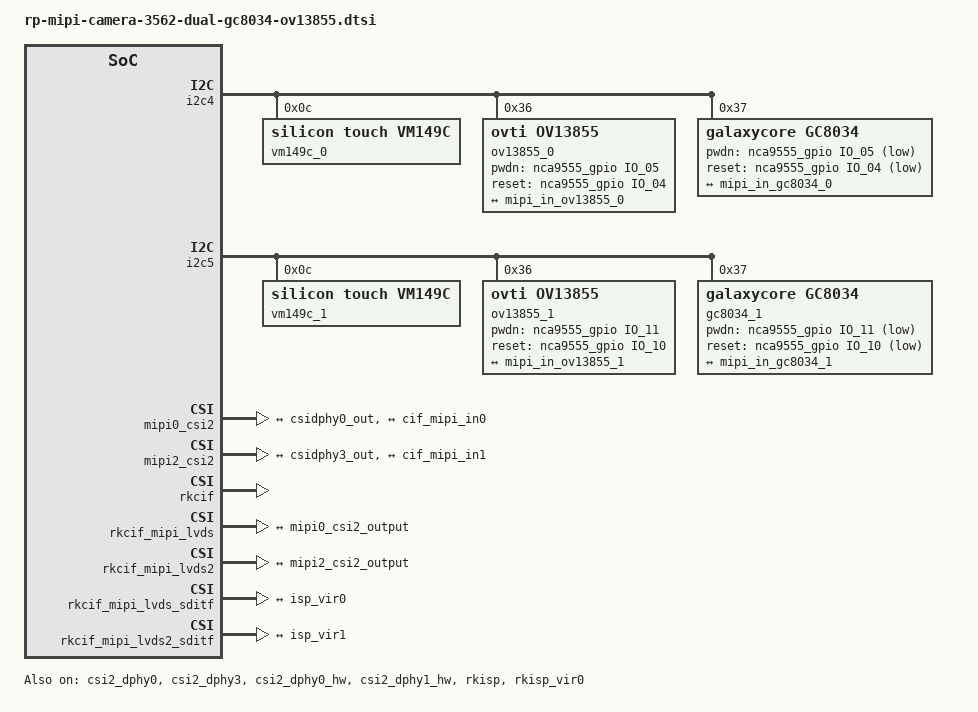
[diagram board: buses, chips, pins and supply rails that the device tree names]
// SPDX-License-Identifier: (GPL-2.0+ OR MIT)
/*
 * Copyright (c) 2023 Rockchip Electronics Co., Ltd.
 *
 */

/// {
//	vcc_mipicsi0: vcc-mipicsi0-regulator {
//		compatible = "regulator-fixed";
//		gpio = <&gpio4 RK_PB4 GPIO_ACTIVE_HIGH>;
//		pinctrl-names = "default";
//		pinctrl-0 = <&mipicsi0_pwr>;
//		regulator-name = "vcc_mipicsi0";
//		enable-active-high;
//		regulator-always-on;
//		regulator-boot-on;
//	};
//
//	vcc_mipicsi1: vcc-mipicsi1-regulator {
//		compatible = "regulator-fixed";
//		gpio = <&gpio3 RK_PC7 GPIO_ACTIVE_HIGH>;
//		pinctrl-names = "default";
//		pinctrl-0 = <&mipicsi1_pwr>;
//		regulator-name = "vcc_mipicsi1";
//		enable-active-high;
//		regulator-always-on;
//		regulator-boot-on;
//	};
//};

&csi2_dphy0 {
	status = "okay";

	ports {
		#address-cells = <1>;
		#size-cells = <0>;
		port@0 {
			reg = <0>;
			#address-cells = <1>;
			#size-cells = <0>;

			mipi_in_ov13855_0: endpoint@0 {
				reg = <0>;
				remote-endpoint = <&ov13855_out0>;
				data-lanes = <1 2 3 4>;
			};
			mipi_in_gc8034_0: endpoint@1 {
				reg = <1>;
				remote-endpoint = <&gc8034_out0>;
				data-lanes = <1 2 3 4>;
			};
		};
		port@1 {
			reg = <1>;
			#address-cells = <1>;
			#size-cells = <0>;

			csidphy0_out: endpoint@0 {
				reg = <0>;
				remote-endpoint = <&mipi0_csi2_input>;
			};
		};
	};
};

&csi2_dphy3 {
	status = "okay";

	ports {
		#address-cells = <1>;
		#size-cells = <0>;
		port@0 {
			reg = <0>;
			#address-cells = <1>;
			#size-cells = <0>;
                       mipi_in_ov13855_1: endpoint@0 {
                                reg = <0>;
                                remote-endpoint = <&ov13855_out1>;
                                data-lanes = <1 2 3 4>;
                        };
                        mipi_in_gc8034_1: endpoint@1 {
                                reg = <1>;
                                remote-endpoint = <&gc8034_out1>;
                                data-lanes = <1 2 3 4>;
                        };


		};
		port@1 {
			reg = <1>;
			#address-cells = <1>;
			#size-cells = <0>;

			csidphy3_out: endpoint@0 {
				reg = <0>;
				remote-endpoint = <&mipi2_csi2_input>;
			};
		};
	};
};

&i2c4 {
	status = "okay";

//               dw9763_0: dw9763_0@c {
//                compatible = "dongwoon,dw9763";
//                status = "okay";
//                reg = <0x0c>;
//                rockchip,vcm-max-current = <120>;
//                rockchip,vcm-start-current = <20>;
//                rockchip,vcm-rated-current = <90>;
//                rockchip,vcm-step-mode = <3>;
//                rockchip,vcm-t-src = <0x20>;
//                rockchip,vcm-t-div = <1>;
//                rockchip,camera-module-index = <0>;
//                rockchip,camera-module-facing = "back";
//        };
 
                vm149c_0: vm149c_0@0c {
        compatible = "silicon touch,vm149c";
        status = "okay";
        reg = <0x0c>;
        rockchip,vcm-start-current = <20>; // 马达的启动电流
        rockchip,vcm-rated-current = <100>; // 马达的额定电流
        rockchip,vcm-step-mode = <13>; // 马达驱动 ic 的电流输出模式
        rockchip,camera-module-index = <0>; // 模组编号
        rockchip,camera-module-facing = "back"; // 模组朝向，有"back"和"front"
};
               

                ov13855_0: ov13855_0@36 {
                compatible = "ovti,ov13855";
                status = "okay";
                reg = <0x36>;
                clocks = <&cru CLK_CAM0_OUT2IO>;
                clock-names = "xvclk";
                pinctrl-names = "default";
                pinctrl-0 = <&camm0_clk0_out>;
                pwdn-gpios = <&nca9555_gpio IO_05 GPIO_ACTIVE_HIGH>;
                reset-gpios = <&nca9555_gpio IO_04 GPIO_ACTIVE_HIGH>;
                rockchip,camera-module-index = <0>;
                rockchip,camera-module-facing = "back";
                rockchip,camera-module-name = "KYT-10203-v1";
                rockchip,camera-module-lens-name = "default";
//                lens-focus = <&dw9763_0>;
                port {
                        ov13855_out0: endpoint {
                                remote-endpoint = <&mipi_in_ov13855_0>;
                                data-lanes = <1 2 3 4>;
                        };
                };
        };



	gc8034: gc8034@37 {
		compatible = "galaxycore,gc8034";
		reg = <0x37>;
		clocks = <&cru CLK_CAM0_OUT2IO>;
		clock-names = "xvclk";
		pinctrl-names = "default";
		pinctrl-0 = <&camm0_clk0_out>;
                pwdn-gpios = <&nca9555_gpio IO_05 GPIO_ACTIVE_LOW>;
                reset-gpios = <&nca9555_gpio IO_04 GPIO_ACTIVE_LOW>;
                // dvdd-supply = <&vcc_mipicsi0>;
		rockchip,camera-module-index = <0>;
		rockchip,camera-module-facing = "back";
		rockchip,camera-module-name = "RK-CMK-8M-2-v1";
		rockchip,camera-module-lens-name = "CK8401";
                lens-focus = <&vm149c_0>;
	//	lens-focus = <&dw9714>;
		port {
			gc8034_out0: endpoint {
				remote-endpoint = <&mipi_in_gc8034_0>;
				data-lanes = <1 2 3 4>;
			};
		};
	};
};

&i2c5 {
	status = "okay";
   vm149c_1: vm149c_1@0c {
        compatible = "silicon touch,vm149c";
        status = "okay";
        reg = <0x0c>;
        rockchip,vcm-start-current = <20>; // 马达的启动电流
        rockchip,vcm-rated-current = <100>; // 马达的额定电流
        rockchip,vcm-step-mode = <13>; // 马达驱动 ic 的电流输出模式
        rockchip,camera-module-index = <1>; // 模组编号
        rockchip,camera-module-facing = "front"; // 模组朝向，有"back"和"front"
};

//        dw9763_1: dw9763_1@c {
//                compatible = "dongwoon,dw9763";
//                status = "okay";
//                reg = <0x0c>;
//                rockchip,vcm-max-current = <120>;
//                rockchip,vcm-start-current = <20>;
//                rockchip,vcm-rated-current = <90>;
//                rockchip,vcm-step-mode = <3>;
//                rockchip,vcm-t-src = <0x20>;
//                rockchip,vcm-t-div = <1>;
//                rockchip,camera-module-index = <1>;
//                rockchip,camera-module-facing = "front";
//        };


      ov13855_1: ov13855_1@36 {
                compatible = "ovti,ov13855";
                status = "okay";
                reg = <0x36>;
                clocks = <&cru CLK_CAM2_OUT2IO>;
                clock-names = "xvclk";
                pinctrl-names = "default";
                pinctrl-0 = <&cam_clk2_out>;
                pwdn-gpios = <&nca9555_gpio IO_11 GPIO_ACTIVE_HIGH>;
                reset-gpios = <&nca9555_gpio IO_10 GPIO_ACTIVE_HIGH>;
                rockchip,camera-module-index = <1>;
                rockchip,camera-module-facing = "front";
                rockchip,camera-module-name = "KYT-10203-v1";
                rockchip,camera-module-lens-name = "default";
                //lens-focus = <&dw9763_1>;
                port {
                        ov13855_out1: endpoint {
                                remote-endpoint = <&mipi_in_ov13855_1>;
                                data-lanes = <1 2 3 4>;
                        };
                };
        };


	gc8034_1: gc8034_1@37 {
		compatible = "galaxycore,gc8034";
		reg = <0x37>;
		clocks = <&cru CLK_CAM2_OUT2IO>;
		clock-names = "xvclk";
		pinctrl-names = "default";
		pinctrl-0 = <&cam_clk2_out>;
                pwdn-gpios = <&nca9555_gpio IO_11 GPIO_ACTIVE_LOW>;
                reset-gpios = <&nca9555_gpio IO_10 GPIO_ACTIVE_LOW>;
// dvdd-supply = <&vcc_mipicsi1>;
		rockchip,camera-module-index = <1>;
		rockchip,camera-module-facing = "front";
		rockchip,camera-module-name = "RK-CMK-8M-2-v1";
		rockchip,camera-module-lens-name = "CK8401";
		lens-focus = <&vm149c_1>;
		port {
			gc8034_out1: endpoint {
				remote-endpoint = <&mipi_in_gc8034_1>;
				data-lanes = <1 2 3 4>;
			};
		};
	};
};

&csi2_dphy0_hw {
	status = "okay";
};

&csi2_dphy1_hw {
	status = "okay";
};

&mipi0_csi2 {
	status = "okay";

	ports {
		#address-cells = <1>;
		#size-cells = <0>;

		port@0 {
			reg = <0>;
			#address-cells = <1>;
			#size-cells = <0>;

			mipi0_csi2_input: endpoint@1 {
				reg = <1>;
				remote-endpoint = <&csidphy0_out>;
			};
		};

		port@1 {
			reg = <1>;
			#address-cells = <1>;
			#size-cells = <0>;

			mipi0_csi2_output: endpoint@0 {
				reg = <0>;
				remote-endpoint = <&cif_mipi_in0>;
			};
		};
	};
};

&mipi2_csi2 {
	status = "okay";

	ports {
		#address-cells = <1>;
		#size-cells = <0>;

		port@0 {
			reg = <0>;
			#address-cells = <1>;
			#size-cells = <0>;

			mipi2_csi2_input: endpoint@1 {
				reg = <1>;
				remote-endpoint = <&csidphy3_out>;
			};
		};

		port@1 {
			reg = <1>;
			#address-cells = <1>;
			#size-cells = <0>;

			mipi2_csi2_output: endpoint@0 {
				reg = <0>;
				remote-endpoint = <&cif_mipi_in1>;
			};
		};
	};
};

&rkcif {
	status = "okay";
};

&rkcif_mipi_lvds {
	status = "okay";

	port {
		cif_mipi_in0: endpoint {
			remote-endpoint = <&mipi0_csi2_output>;
		};
	};
};

&rkcif_mipi_lvds2 {
	status = "okay";

	port {
		cif_mipi_in1: endpoint {
			remote-endpoint = <&mipi2_csi2_output>;
		};
	};
};

&rkcif_mipi_lvds_sditf {
	status = "okay";

	port {
		mipi_lvds_sditf: endpoint {
			remote-endpoint = <&isp_vir0>;
		};
	};
};

&rkcif_mipi_lvds2_sditf {
	status = "okay";

	port {
		mipi_lvds2_sditf: endpoint {
			remote-endpoint = <&isp_vir1>;
		};
	};
};

&rkcif_mmu {
	status = "okay";
};

&rkisp {
	status = "okay";
};

&rkisp_mmu {
	status = "okay";
};

&rkisp_vir0 {
	status = "okay";

	port {
		#address-cells = <1>;
		#size-cells = <0>;

		isp_vir0: endpoint@0 {
			reg = <0>;
			remote-endpoint = <&mipi_lvds_sditf>;
		};
		isp_vir1: endpoint@1 {
			reg = <1>;
			remote-endpoint = <&mipi_lvds2_sditf>;
		};
	};
};

//&pinctrl {
//	cam {
//		mipicsi0_pwr: mipicsi0-pwr {
//			rockchip,pins =
//				/* camera power en */
//				<4 RK_PB4 RK_FUNC_GPIO &pcfg_pull_none>;
//		};
//		mipicsi1_pwr: mipicsi1-pwr {
//			rockchip,pins =
//				/* camera1 power en */
//				<3 RK_PC7 RK_FUNC_GPIO &pcfg_pull_none>;
//		};
//	};
//};
//
